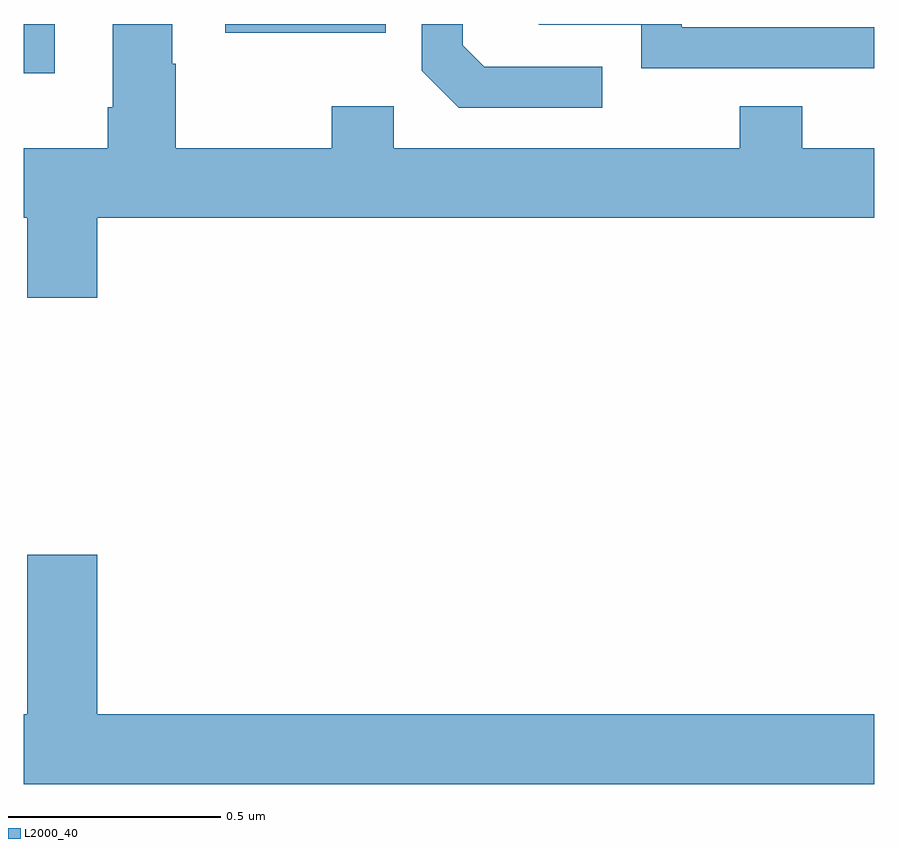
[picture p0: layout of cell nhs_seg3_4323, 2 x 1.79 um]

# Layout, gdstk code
import gdstk
lib = gdstk.Library(unit=1e-6, precision=1e-09)
def R(c, l, rs):  # rectangles x0, y0, x1, y1
    for r in rs: c.add(gdstk.rectangle(r[:2], r[2:], *l))
def P(c, l, *ps):  # polygons
    for p in ps: c.add(gdstk.Polygon(p, *l))
L2000_40 = (2000, 40)

nhs_seg3_4323 = lib.new_cell('nhs_seg3_4323')
R(nhs_seg3_4323, L2000_40, [(165,673.284,165.073,673.4), (165.474,673.379,165.851,673.4)])
P(nhs_seg3_4323, L2000_40, [(165.172,672.944),(167,672.944),(167,673.108),(166.831,673.108),(166.831,673.207),(166.684,673.207),(166.684,673.108),(165.87,673.108),(165.87,673.207),(165.724,673.207),(165.724,673.108),(165.357,673.108),(165.357,673.307),(165.349,673.307),(165.349,673.4),(165.209,673.4),(165.209,673.204),(165.197,673.204),(165.197,673.108),(165,673.108),(165,672.944),(165.008,672.944),(165.008,672.756),(165.172,672.756)],
  [(166.36,673.299),(166.083,673.299),(166.032,673.35),(166.032,673.4),(165.936,673.4),(165.936,673.29),(166.023,673.203),(166.36,673.203)],
  [(167,673.392),(166.548,673.392),(166.548,673.4),(166.21,673.4),(166.212,673.398),(166.452,673.398),(166.452,673.296),(167,673.296)],
  [(167,671.776),(165.172,671.776),(165.172,672.151),(165.008,672.151),(165.008,671.776),(165,671.776),(165,671.612),(167,671.612)])

lib.write_gds('nhs_seg3_4323.gds')
